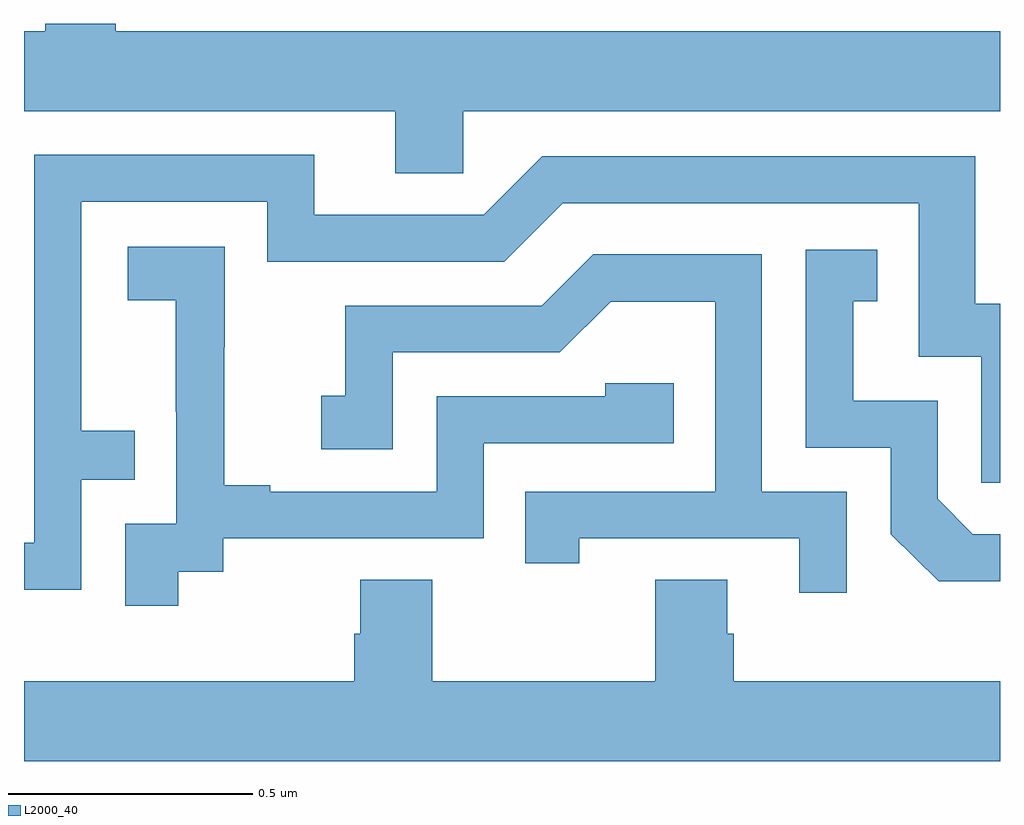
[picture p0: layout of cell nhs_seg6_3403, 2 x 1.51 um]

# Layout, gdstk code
import gdstk
lib = gdstk.Library(unit=1e-6, precision=1e-09)
def P(c, l, *ps):  # polygons
    for p in ps: c.add(gdstk.Polygon(p, *l))
L2000_40 = (2000, 40)

nhs_seg6_3403 = lib.new_cell('nhs_seg6_3403')
P(nhs_seg6_3403, L2000_40, [(156.9,963.32),(158,963.32),(158,963.484),(156.188,963.484),(156.188,963.5),(156.044,963.5),(156.044,963.484),(156,963.484),(156,963.32),(156.761,963.32),(156.761,963.193),(156.9,963.193)],
  [(156.117,962.565),(156.227,962.565),(156.227,962.666),(156.117,962.666),(156.117,963.135),(156.498,963.135),(156.498,963.012),(156.984,963.012),(157.104,963.132),(157.833,963.132),(157.833,962.817),(157.962,962.817),(157.962,962.559),(158,962.559),(158,962.926),(157.949,962.926),(157.949,963.228),(157.062,963.228),(156.942,963.108),(156.595,963.108),(156.595,963.231),(156.021,963.231),(156.021,962.436),(156,962.436),(156,962.34),(156.117,962.34)],
  [(156.316,962.377),(156.408,962.377),(156.408,962.445),(156.942,962.445),(156.942,962.64),(157.331,962.64),(157.331,962.763),(157.191,962.763),(157.191,962.736),(156.846,962.736),(156.846,962.541),(156.505,962.541),(156.505,962.554),(156.41,962.554),(156.41,962.837),(156.411,962.837),(156.411,963.043),(156.213,963.043),(156.213,962.933),(156.311,962.933),(156.311,962.705),(156.312,962.705),(156.312,962.475),(156.207,962.475),(156.207,962.307),(156.316,962.307)],
  [(158,962.454),(157.944,962.454),(157.872,962.526),(157.872,962.727),(157.699,962.727),(157.699,962.931),(157.748,962.931),(157.748,963.037),(157.602,963.037),(157.602,962.631),(157.776,962.631),(157.776,962.454),(157.874,962.357),(158,962.357)],
  [(157.686,962.541),(157.512,962.541),(157.512,963.027),(157.166,963.027),(157.061,962.922),(156.658,962.922),(156.658,962.737),(156.609,962.737),(156.609,962.628),(156.756,962.628),(156.756,962.826),(157.098,962.826),(157.202,962.93),(157.416,962.93),(157.416,962.541),(157.027,962.541),(157.027,962.394),(157.138,962.394),(157.138,962.445),(157.589,962.445),(157.589,962.334),(157.686,962.334)],
  [(158,962.152),(157.454,962.152),(157.454,962.25),(157.441,962.25),(157.441,962.36),(157.294,962.36),(157.294,962.152),(156.837,962.152),(156.837,962.36),(156.689,962.36),(156.689,962.25),(156.677,962.25),(156.677,962.152),(156,962.152),(156,961.988),(158,961.988)])

lib.write_gds('nhs_seg6_3403.gds')
